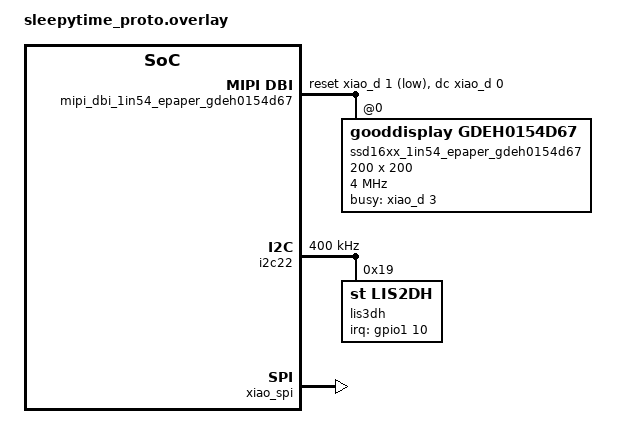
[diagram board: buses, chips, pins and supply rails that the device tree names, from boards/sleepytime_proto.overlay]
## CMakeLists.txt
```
# SPDX-License-Identifier: Apache-2.0

cmake_minimum_required(VERSION 3.20.0)

find_package(Zephyr REQUIRED HINTS $ENV{ZEPHYR_BASE})
project(sleepytime VERSION 0.1.0)

# ── Include paths ─────────────────────────────────────────────────────────────
target_include_directories(app PRIVATE
    ${CMAKE_CURRENT_SOURCE_DIR}
    ${CMAKE_CURRENT_SOURCE_DIR}/core
)

# ── Sources ───────────────────────────────────────────────────────────────────
target_sources(app PRIVATE
    # Entry point and wiring
    core/main.c
)
```

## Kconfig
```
source "Kconfig.zephyr"

menu "SleepyTime"

choice SLEEPYTIME_WAKEUP_BACKEND
    prompt "SleepyTime wakeup timer backend"
    default SLEEPYTIME_WAKEUP_BACKEND_GRTC

config SLEEPYTIME_WAKEUP_BACKEND_GRTC
    bool "nRF GRTC"

config SLEEPYTIME_WAKEUP_BACKEND_PCF8563
    bool "PCF8563 RTC"

endchoice

choice SLEEPYTIME_MOTION_BACKEND
    prompt "SleepyTime accelerometer backend"
    default SLEEPYTIME_MOTION_BACKEND_LIS3DH

config SLEEPYTIME_MOTION_BACKEND_LIS3DH
    bool "LIS3DH"

config SLEEPYTIME_MOTION_BACKEND_BMI270
    bool "BMI270"

endchoice

endmenu
```

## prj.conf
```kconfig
# SleepyTime — Application Kconfig
#
# Keep options grouped by subsystem. Add a comment for anything non-obvious.
# Tune stack sizes and buffer depths once real profiling data is available.

# ── Logging (UART) ─────────────────────────────────────────────────────────────
CONFIG_LOG=y
CONFIG_LOG_MODE_IMMEDIATE=y
CONFIG_LOG_DEFAULT_LEVEL=3
CONFIG_UART_CONSOLE=y

# ── GPIO ──────────────────────────────────────────────────────────────────────
CONFIG_GPIO=y

# ── SPI (EPD display) ─────────────────────────────────────────────────────────
CONFIG_SPI=y
CONFIG_MIPI_DBI_SPI=y
CONFIG_DISPLAY=y
CONFIG_SSD16XX=y

# ── LVGL (Graphics Library) ──────────────────────────────────────────────────
# Using LVGL as the master driver and UI framework.
CONFIG_LVGL=y
CONFIG_LV_COLOR_DEPTH_1=y
CONFIG_LV_Z_VDB_SIZE=64
CONFIG_LV_Z_MEM_POOL_SIZE=49152
CONFIG_LV_USE_LABEL=y

# Standard fonts for the watch face
CONFIG_LV_FONT_MONTSERRAT_12=y
CONFIG_LV_FONT_MONTSERRAT_16=y
CONFIG_LV_FONT_MONTSERRAT_24=y
CONFIG_LV_FONT_MONTSERRAT_32=y
CONFIG_LV_FONT_MONTSERRAT_48=y

# ── I2C (LIS3DH accelerometer + PCF8563 RTC) ──────────────────────────────────
CONFIG_I2C=y

# ── Reset cause / wakeup source detection ─────────────────────────────────────
# Provides hwinfo_get_reset_cause() used in main.c to decode System Off wakeup.

# ── Retained Memory (State across System Off) ──────────────────────────────────

# ── BLE ───────────────────────────────────────────────────────────────────────
CONFIG_BT=y
CONFIG_BT_PERIPHERAL=y
CONFIG_BT_DEVICE_NAME="SleepyTime"
CONFIG_BT_SMP=y
CONFIG_BT_GATT_CLIENT=y
CONFIG_BT_GATT_DM=y

# Enable CTS client
CONFIG_BT_CTS_CLIENT=y

# Enable bonding
CONFIG_BT_SETTINGS=y
CONFIG_FLASH=y
CONFIG_FLASH_PAGE_LAYOUT=y
CONFIG_FLASH_MAP=y

# ── Event message queue ───────────────────────────────────────────────────────
# K_MSGQ_DEFINE in main.c requires no extra Kconfig — included in kernel.

# ── Stack and heap ────────────────────────────────────────────────────────────
CONFIG_MAIN_STACK_SIZE=4096
CONFIG_BT_RX_STACK_SIZE=8192
CONFIG_HEAP_MEM_POOL_SIZE=16384

# ── Power management ──────────────────────────────────────────────────────────
CONFIG_PM_DEVICE=y
CONFIG_POWEROFF=n
CONFIG_TICKLESS_KERNEL=y

# ── System On + GRTC wakeup ──────────────────────────────────────────────────
CONFIG_NRF_GRTC_TIMER=y
CONFIG_NRF_GRTC_START_SYSCOUNTER=y
CONFIG_NRF_GRTC_TIMER_SOURCE_LFXO=y
CONFIG_CLOCK_CONTROL_NRF_K32SRC_XTAL=y

# ── Sensor Backend ───────────────────────────────────────────────────────────
#CONFIG_SENSOR=y
#CONFIG_LIS2DH=y
CONFIG_LSM6DSO=n

# ── SleepyTime backend selection defaults ────────────────────────────────────
# Keep current runtime behavior:
#   - GRTC wakeup timer backend
#   - LIS3DH accelerometer backend
#CONFIG_SLEEPYTIME_WAKEUP_BACKEND_GRTC=y
#CONFIG_SLEEPYTIME_MOTION_BACKEND_LIS3DH=y

# TRIGGER_GLOBAL_THREAD: any-motion interrupt handled in a global work queue
# thread. Required for sensor_trigger_set() to work.
#CONFIG_LIS2DH_TRIGGER_GLOBAL_THREAD=y

CONFIG_REBOOT=y

# # Use a static random address that is stable across resets.
# # The address is generated once from FICR (factory info) and never rotates.
# CONFIG_BT_RANDOM_ADDRESS_TYPE_STATIC=y

# # Disable private address rotation entirely — not needed for a watch
# # that only talks to one bonded phone.
# CONFIG_BT_PRIVACY=n

CONFIG_DATE_TIME=y
# Disable automatic network/modem syncing to remove SNTP dependency
CONFIG_DATE_TIME_NTP=n
CONFIG_DATE_TIME_MODEM=n
CONFIG_DATE_TIME_AUTO_UPDATE=n

# Ensure networking is off if not needed
CONFIG_NETWORKING=n

CONFIG_SETTINGS=y
CONFIG_SETTINGS_NVS=y
```

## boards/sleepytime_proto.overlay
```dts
/*
 * SleepyTime — hardware overlay for prototype (discrete modules)
 *
 * Extends the upstream XIAO nRF54L15 board DTS with SleepyTime-specific
 * peripherals.
 *
 * I2C bus: i2c22 (PERI domain, P1 pins)
 *   SDA — P1.10 (XIAO D4)
 *   SCL — P1.11 (XIAO D5)
 *   pinctrl labels i2c22_default / i2c22_sleep are defined in the upstream
 *   board file xiao_nrf54l15-pinctrl.dtsi; no need to redeclare them here.
 *
 * Confirmed details:
 *   I2C address : 0x19 (SA0 high, confirmed via i2c_scan)
 *   INT1 pin    : TODO confirm against prototype wiring diagram.
 */

#include <zephyr/dt-bindings/sensor/lis2dh.h>

&i2c22 {
    status = "okay";
    clock-frequency = <I2C_BITRATE_FAST>;

    lis3dh: lis3dh@19 {
        compatible = "st,lis2dh";
        reg = <0x19>;
        status = "okay";

        /*
         * INT1 GPIO. The lis2dh driver owns this pin — do not also
         * define it in a gpio-keys or aliases node.
         * TODO: confirm pin against prototype wiring diagram.
         */
        irq-gpios = <&gpio1 10 GPIO_ACTIVE_HIGH>;

        /*
         * Level-sensitive active-high — required for nRF54L15 GPIO sense
         * wakeup from System Off. The INT1 line must stay asserted after
         * the gesture so the sense latch fires before deep sleep completes.
         */
        int1-gpio-config = <LIS2DH_DT_GPIO_INT_LEVEL_HIGH>;

        /*
         * Fire on any axis exceeding threshold (OR combination).
         * Appropriate for wrist-raise detection regardless of watch
         * orientation on the wrist.
         */
        anym-mode = <LIS2DH_DT_ANYM_OR_COMBINATION>;
    };
};

&gpio1 {
    status = "okay";
};

&cpuapp_sram {
	#address-cells = <1>;
	#size-cells = <1>;

	retained_mem: retained@2ff00 {
		compatible = "zephyr,retained-ram";
		reg = <0x2ff00 0x100>;
		status = "okay";
		#address-cells = <1>;
		#size-cells = <1>;
	};
};

/ {
	chosen {
		zephyr,display = &ssd16xx_1in54_epaper_gdeh0154d67;
	};

	mipi_dbi_1in54_epaper_gdeh0154d67 {
		compatible = "zephyr,mipi-dbi-spi";
		spi-dev = <&xiao_spi>;
		dc-gpios = <&xiao_d 0 GPIO_ACTIVE_HIGH>;
		reset-gpios = <&xiao_d 1 GPIO_ACTIVE_LOW>;	
		#address-cells = <1>;
		#size-cells = <0>;

		ssd16xx_1in54_epaper_gdeh0154d67: ssd16xxfb@0 {
			compatible = "gooddisplay,gdeh0154d67", "solomon,ssd1681";
			mipi-max-frequency = <4000000>;
			reg = <0>;
			width = <200>; 
			height = <200>;
			busy-gpios = <&xiao_d 3 GPIO_ACTIVE_HIGH>;

			tssv = <0x80>;

			full {
				border-waveform = <0x05>;
			};

			partial {
				border-waveform = <0x3c>;
			};
		};
	};
};

&xiao_spi {
    status = "okay";
	cs-gpios = <&xiao_d 2 GPIO_ACTIVE_LOW>;
};
```

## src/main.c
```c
/*
 * SleepyTime — Hello World
 *
 * Blinks the onboard LED at 1 Hz and logs a counter over RTT.
 *
 * Viewing RTT output:
 *   - nRF Connect for Desktop → Programmer → RTT Viewer (easiest)
 *   - Or from a terminal: JLinkExe → connect → then JLinkRTTClient
 *
 * SPDX-License-Identifier: Apache-2.0
 */

#include <zephyr/drivers/gpio.h>
#include <zephyr/kernel.h>
#include <zephyr/logging/log.h>

LOG_MODULE_REGISTER(main, LOG_LEVEL_DBG);

#define LED0_NODE DT_ALIAS(led0)
static const struct gpio_dt_spec led = GPIO_DT_SPEC_GET(LED0_NODE, gpios);

int main(void) {
  int ret;
  uint32_t count = 0;

  if (!gpio_is_ready_dt(&led)) {
    LOG_ERR("LED GPIO device not ready");
    return -ENODEV;
  }

  ret = gpio_pin_configure_dt(&led, GPIO_OUTPUT_ACTIVE);
  if (ret < 0) {
    LOG_ERR("Failed to configure LED GPIO: %d", ret);
    return ret;
  }

  LOG_INF("SleepyTime hello world — board: %s", CONFIG_BOARD);

  while (1) {
    ret = gpio_pin_toggle_dt(&led);
    if (ret < 0) {
      LOG_ERR("Failed to toggle LED: %d", ret);
      return ret;
    }

    LOG_INF("Blink #%u — LED is %s", count++,
            gpio_pin_get_dt(&led) ? "ON" : "OFF");

    k_msleep(100);
  }

  return 0;
}
```
